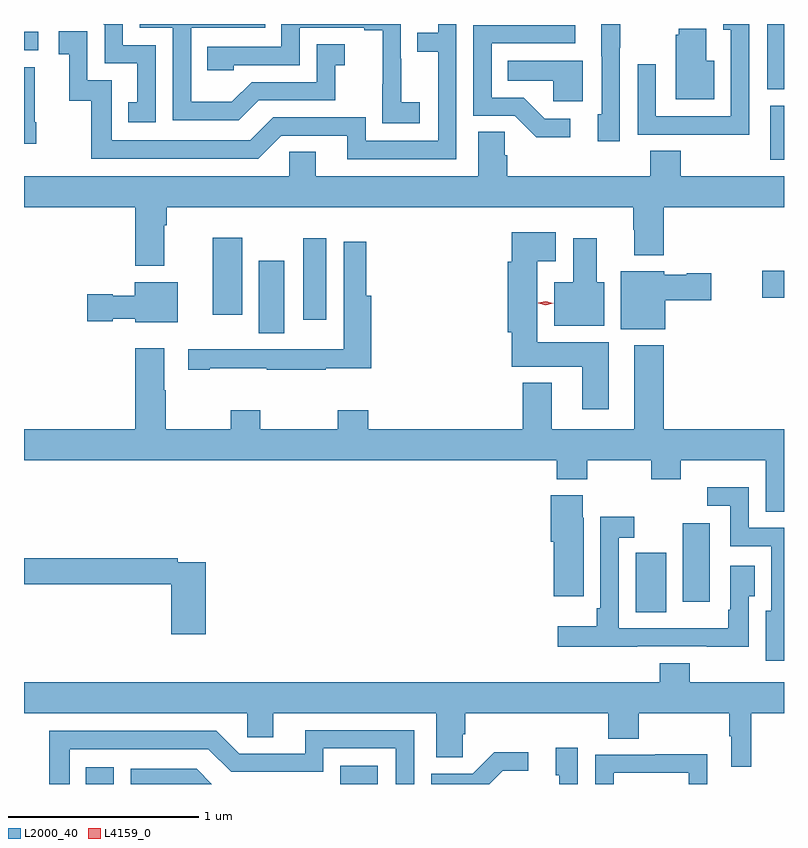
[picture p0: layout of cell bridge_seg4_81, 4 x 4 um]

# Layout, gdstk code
import gdstk
lib = gdstk.Library(unit=1e-6, precision=1e-09)
def R(c, l, rs):  # rectangles x0, y0, x1, y1
    for r in rs: c.add(gdstk.rectangle(r[:2], r[2:], *l))
def P(c, l, *ps):  # polygons
    for p in ps: c.add(gdstk.Polygon(p, *l))
L2000_40 = (2000, 40)
L4159_0 = (4159, 0)

bridge_seg4_81 = lib.new_cell('bridge_seg4_81')
R(bridge_seg4_81, L2000_40, [(433.06,773.804,433.206,773.893), (434.398,773.804,434.596,773.899), (435.953,774.709,436.114,775.02), (436.202,774.762,436.342,775.177), (433.97,776.176,434.104,776.557), (434.204,776.247,434.326,776.677), (433.727,776.274,433.882,776.68), (436.62,776.363,436.734,776.505), (436.661,777.09,436.734,777.375), (436.646,777.46,436.734,777.804), (432.734,777.666,432.808,777.762)])
P(bridge_seg4_81, L2000_40, [(434.818,777.391),(434.72,777.391),(434.72,777.62),(434.718,777.62),(434.718,777.804),(434.088,777.804),(434.088,777.684),(433.699,777.684),(433.699,777.561),(433.839,777.561),(433.839,777.588),(434.184,777.588),(434.184,777.783),(434.525,777.783),(434.525,777.771),(434.621,777.771),(434.621,777.487),(434.62,777.487),(434.62,777.281),(434.818,777.281)],
  [(433.428,777.693),(433.254,777.693),(433.254,777.804),(433.152,777.804),(433.158,777.798),(433.158,777.597),(433.331,777.597),(433.331,777.393),(433.282,777.393),(433.282,777.288),(433.428,777.288)],
  [(436.551,777.804),(436.415,777.804),(436.415,777.775),(436.455,777.775),(436.455,777.318),(436.059,777.318),(436.059,777.592),(435.963,777.592),(435.963,777.222),(436.279,777.222),(436.279,777.221),(436.551,777.221)],
  [(435.009,777.804),(434.913,777.804),(434.913,777.759),(434.803,777.759),(434.803,777.658),(434.913,777.658),(434.913,777.189),(434.532,777.189),(434.532,777.312),(434.046,777.312),(433.926,777.192),(433.197,777.192),(433.197,777.507),(433.068,777.507),(433.068,777.766),(432.918,777.766),(432.918,777.645),(432.971,777.645),(432.971,777.399),(433.089,777.399),(433.089,777.096),(433.968,777.096),(434.088,777.216),(434.435,777.216),(434.435,777.093),(435.009,777.093)],
  [(435.87,777.679),(435.873,777.679),(435.873,777.804),(435.773,777.804),(435.773,777.634),(435.774,777.634),(435.774,777.33),(435.755,777.33),(435.755,777.186),(435.87,777.186)],
  [(433.969,777.402),(434.373,777.402),(434.373,777.587),(434.422,777.587),(434.422,777.697),(434.274,777.697),(434.274,777.498),(433.932,777.498),(433.828,777.394),(433.614,777.394),(433.614,777.783),(434.003,777.783),(434.003,777.804),(433.344,777.804),(433.344,777.783),(433.518,777.783),(433.518,777.297),(433.864,777.297)],
  [(435.61,777.306),(435.475,777.306),(435.364,777.417),(435.195,777.417),(435.195,777.702),(435.634,777.702),(435.634,777.798),(435.099,777.798),(435.099,777.321),(435.318,777.321),(435.431,777.209),(435.61,777.209)],
  [(436.366,777.61),(436.324,777.61),(436.324,777.778),(436.181,777.778),(436.181,777.747),(436.163,777.747),(436.163,777.407),(436.366,777.407)],
  [(435.676,777.61),(435.28,777.61),(435.28,777.506),(435.519,777.506),(435.519,777.398),(435.676,777.398)],
  [(432.798,777.286),(432.79,777.286),(432.79,777.577),(432.734,777.577),(432.734,777.174),(432.798,777.174)],
  [(436.031,777.004),(435.278,777.004),(435.278,777.113),(435.264,777.113),(435.264,777.236),(435.125,777.236),(435.125,777.004),(434.269,777.004),(434.269,777.131),(434.13,777.131),(434.13,777.004),(432.734,777.004),(432.734,776.84),(433.319,776.84),(433.319,776.531),(433.471,776.531),(433.471,776.744),(433.484,776.744),(433.484,776.84),(435.94,776.84),(435.94,776.72),(435.947,776.72),(435.947,776.588),(436.1,776.588),(436.1,776.84),(436.734,776.84),(436.734,777.004),(436.191,777.004),(436.191,777.137),(436.031,777.137)],
  [(435.811,776.128),(435.436,776.128),(435.436,776.555),(435.532,776.555),(435.532,776.707),(435.302,776.707),(435.302,776.553),(435.281,776.553),(435.281,776.181),(435.302,776.181),(435.302,776),(435.671,776),(435.671,775.776),(435.811,775.776)],
  [(435.787,776.446),(435.748,776.446),(435.748,776.677),(435.626,776.677),(435.626,776.446),(435.524,776.446),(435.524,776.216),(435.787,776.216)],
  [(433.711,775.993),(434.011,775.993),(434.011,775.983),(434.321,775.983),(434.321,775.993),(434.561,775.993),(434.561,776.374),(434.534,776.374),(434.534,776.659),(434.418,776.659),(434.418,776.092),(434.208,776.092),(434.208,776.091),(433.874,776.091),(433.874,776.093),(433.599,776.093),(433.599,775.983),(433.711,775.983)],
  [(436.108,776.351),(436.351,776.351),(436.351,776.493),(436.221,776.493),(436.221,776.485),(436.104,776.485),(436.104,776.503),(435.875,776.503),(435.875,776.198),(436.108,776.198)],
  [(433.543,776.446),(433.316,776.446),(433.316,776.374),(433.2,776.374),(433.2,776.382),(433.068,776.382),(433.068,776.24),(433.2,776.24),(433.2,776.252),(433.32,776.252),(433.32,776.234),(433.543,776.234)],
  [(436.734,775.672),(436.1,775.672),(436.1,776.113),(435.947,776.113),(435.947,775.672),(435.511,775.672),(435.511,775.915),(435.359,775.915),(435.359,775.672),(434.546,775.672),(434.546,775.771),(434.386,775.771),(434.386,775.672),(433.977,775.672),(433.977,775.771),(433.822,775.771),(433.822,775.672),(433.479,775.672),(433.479,775.877),(433.471,775.877),(433.471,776.098),(433.319,776.098),(433.319,775.672),(432.734,775.672),(432.734,775.508),(435.539,775.508),(435.539,775.409),(435.699,775.409),(435.699,775.508),(436.036,775.508),(436.036,775.409),(436.191,775.409),(436.191,775.508),(436.637,775.508),(436.637,775.237),(436.734,775.237)],
  [(436.734,775.152),(436.548,775.152),(436.548,775.366),(436.329,775.366),(436.329,775.269),(436.452,775.269),(436.452,775.056),(436.667,775.056),(436.667,774.715),(436.637,774.715),(436.637,774.452),(436.734,774.452)],
  [(435.679,775.206),(435.676,775.206),(435.676,775.324),(435.506,775.324),(435.506,775.078),(435.521,775.078),(435.521,774.792),(435.679,774.792)],
  [(435.961,774.528),(436.327,774.528),(436.327,774.527),(436.548,774.527),(436.548,774.793),(436.579,774.793),(436.579,774.952),(436.452,774.952),(436.452,774.721),(436.44,774.721),(436.44,774.625),(436.21,774.625),(436.21,774.624),(435.864,774.624),(435.864,775.101),(435.946,775.101),(435.946,775.21),(435.768,775.21),(435.768,774.73),(435.748,774.73),(435.748,774.634),(435.543,774.634),(435.543,774.527),(435.961,774.527)],
  [(433.691,774.972),(433.544,774.972),(433.544,774.992),(432.734,774.992),(432.734,774.856),(433.508,774.856),(433.508,774.591),(433.691,774.591)],
  [(436.561,774.176),(436.734,774.176),(436.734,774.34),(436.239,774.34),(436.239,774.439),(436.079,774.439),(436.079,774.34),(432.734,774.34),(432.734,774.176),(433.908,774.176),(433.908,774.049),(434.047,774.049),(434.047,774.176),(434.903,774.176),(434.903,773.944),(435.042,773.944),(435.042,774.067),(435.056,774.067),(435.056,774.176),(435.809,774.176),(435.809,774.043),(435.969,774.043),(435.969,774.176),(436.447,774.176),(436.447,774.055),(436.457,774.055),(436.457,773.895),(436.561,773.895)],
  [(432.975,773.988),(433.704,773.988),(433.824,773.868),(434.31,773.868),(434.31,773.991),(434.691,773.991),(434.691,773.804),(434.787,773.804),(434.787,774.087),(434.213,774.087),(434.213,773.964),(433.866,773.964),(433.746,774.084),(432.867,774.084),(432.867,773.804),(432.975,773.804)],
  [(435.648,773.995),(435.533,773.995),(435.533,773.85),(435.552,773.85),(435.552,773.804),(435.648,773.804)],
  [(435.253,773.874),(435.388,773.874),(435.388,773.972),(435.209,773.972),(435.096,773.859),(434.877,773.859),(434.877,773.804),(435.183,773.804)],
  [(435.837,773.862),(436.233,773.862),(436.233,773.804),(436.329,773.804),(436.329,773.96),(436.057,773.96),(436.057,773.958),(435.741,773.958),(435.741,773.804),(435.837,773.804)],
  [(433.642,773.883),(433.296,773.883),(433.296,773.804),(433.721,773.804)])
P(bridge_seg4_81, L4159_0, [(435.48,776.325),(435.441,776.335),(435.441,776.335),(435.441,776.336),(435.48,776.345),(435.519,776.335),(435.52,776.335),(435.519,776.335)])

lib.write_gds('bridge_seg4_81.gds')
